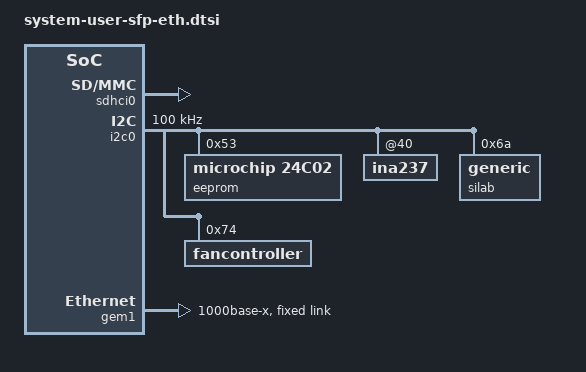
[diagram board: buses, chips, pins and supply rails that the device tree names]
/include/ "system-conf.dtsi"
/ {
};

&sdhci0 {
	status = "okay";
  no-1-8-v;
};

&i2c0 {
  status = "okay";
  clock-frequency = <100000>;
  eeprom@53 {
  	compatible = "microchip,24c02", "atmel,24c02";
    size = <256>;
    read-only;
  	reg = <0x53>;
  	pagesize = <8>; // part fitted is 24AA02E48. Schematic shows 24AA025E48 (16-byte page)
    #address-cells = <1>;
    #size-cells = <1>;
    mac_addr: mac_addr@FA {
      reg = <0xFA 0x06>;
    };
  };
  ina237@40 {
    //compatible = "ti,ina237";
    //reg = <0x40>;
    //adc-config = <0>;
    //config = <0>;
    //current-lsb = <1>;
    //rshunt = <5>;
  };
  silab@6a {
    compatible = "generic";
    reg = <0x6a>;
  };
  fancontroller@74 {
    reg = <0x74>;
  };
};

//&gem0 {
//  //local-mac-address = <&mac_addr>;
//  //nvmem-cells = <&mac_addr>;
//  //nvmem-cell-names = "mac-address";
//  phy-mode = "rgmii-id";
//  phy-handle = <&ethernet_phy>;
//  mdio {
//    #address-cells = <1>;
//    #size-cells = <0>;
//    ethernet_phy: ethernet-phy@0 {
//      compatible = "marvell,88e1512", "marvell,88e1510";
//      reset-gpios = <&gpio0 0x32 0x1>;
//      device_type = "ethernet-phy";
//      reg = <0>;
//      reset-assert-us = <10000>; /* Reset hold time in microseconds */
//      reset-deassert-us = <1000>; /* Delay after reset release */
//      //marvell,reg-init = <0x12 0x14 0xfff0 0x0 0x12 0x14 0x7fff 0x8000>;
//    };
//  };
//};

&gem1 {
  status = "okay";
  local-mac-address = <&mac_addr>;
  nvmem-cells = <&mac_addr>;
  nvmem-cell-names = "mac-address";
  //phy-mode = "gmii";
  phy-mode = "1000base-x";
  //phy-handle = <&ethernet_phy2>;
  //eth-reset = <&gpio0 0x32 0x1>;
  fixed-link {
    speed = <1000>;
    full-duplex;
  };
};

//&ethernet_phy {
//    //compatible = "marvell,88e1510";
//    reset-gpios = <&gpio0 0x32 0x1>;
//    reset-assert-us = <10000>; /* Reset hold time in microseconds */
//    reset-deassert-us = <1000>; /* Delay after reset release */
//    reg = <0>;
//};
